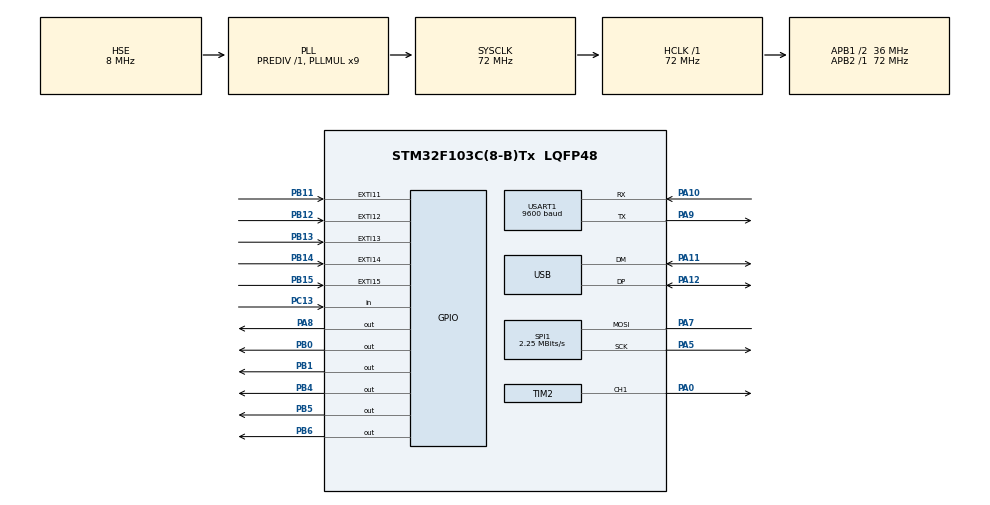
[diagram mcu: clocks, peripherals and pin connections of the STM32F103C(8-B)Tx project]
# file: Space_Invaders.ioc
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Mcu.Family=STM32F1
Mcu.Name=STM32F103C(8-B)Tx
Mcu.Package=LQFP48
NVIC.EXTI15_10_IRQn=true\:0\:0\:false\:false\:true\:true\:true\:true
NVIC.PriorityGroup=NVIC_PRIORITYGROUP_4
NVIC.TIM2_IRQn=true\:0\:0\:false\:false\:true\:true\:true\:true
NVIC.USART1_IRQn=true\:0\:0\:false\:false\:true\:true\:true\:true
PA0-WKUP.Signal=S_TIM2_CH1_ETR
PA10.Mode=Asynchronous
PA10.Signal=USART1_RX
PA11.Mode=Device
PA11.Signal=USB_DM
PA12.Mode=Device
PA12.Signal=USB_DP
PA5.Mode=Simplex_Bidirectional_Master
PA5.Signal=SPI1_SCK
PA7.Mode=Simplex_Bidirectional_Master
PA7.Signal=SPI1_MOSI
PA8.Signal=GPIO_Output
PA9.Mode=Asynchronous
PA9.Signal=USART1_TX
PB0.Signal=GPIO_Output
PB1.Signal=GPIO_Output
PB11.GPIO_ModeDefaultEXTI=GPIO_MODE_IT_RISING
PB11.GPIO_PuPd=GPIO_PULLDOWN
PB11.Signal=GPXTI11
PB12.GPIO_PuPd=GPIO_PULLDOWN
PB12.Signal=GPXTI12
PB13.GPIO_PuPd=GPIO_PULLDOWN
PB13.Signal=GPXTI13
PB14.GPIO_PuPd=GPIO_PULLDOWN
PB14.Signal=GPXTI14
PB15.GPIO_PuPd=GPIO_PULLDOWN
PB15.Signal=GPXTI15
PB4.Signal=GPIO_Output
PB5.Signal=GPIO_Output
PB6.Signal=GPIO_Output
PC13-TAMPER-RTC.GPIO_PuPd=GPIO_PULLUP
PC13-TAMPER-RTC.Signal=GPIO_Input
PD0-OSC_IN.Mode=HSE-External-Oscillator
PD0-OSC_IN.Signal=RCC_OSC_IN
PD1-OSC_OUT.Mode=HSE-External-Oscillator
PD1-OSC_OUT.Signal=RCC_OSC_OUT
ProjectManager.HeapSize=0x200
ProjectManager.StackSize=0x400
ProjectManager.TargetToolchain=STM32CubeIDE
RCC.AHBFreq_Value=72000000
RCC.APB1CLKDivider=RCC_HCLK_DIV2
RCC.APB1Freq_Value=36000000
RCC.APB1TimFreq_Value=72000000
RCC.APB2Freq_Value=72000000
RCC.APB2TimFreq_Value=72000000
RCC.HCLKFreq_Value=72000000
RCC.PLLMUL=RCC_PLL_MUL9
RCC.SYSCLKFreq_VALUE=72000000
RCC.SYSCLKSource=RCC_SYSCLKSOURCE_PLLCLK
RCC.USBFreq_Value=48000000
RCC.USBPrescaler=RCC_USBCLKSOURCE_PLL_DIV1_5
SH.S_TIM2_CH1_ETR.0=TIM2_CH1,Output Compare1 CH1
SPI1.BaudRatePrescaler=SPI_BAUDRATEPRESCALER_32
SPI1.CalculateBaudRate=2.25 MBits/s
SPI1.Direction=SPI_DIRECTION_1LINE
SPI1.Mode=SPI_MODE_MASTER
SPI1.VirtualType=VM_MASTER
TIM2.Channel-Output\ Compare1\ CH1=TIM_CHANNEL_1
TIM2.Period=100
TIM2.Prescaler=7199
USART1.BaudRate=9600
USART1.VirtualMode=VM_ASYNC
VP_SYS_VS_ND.Mode=No_Debug
VP_TIM2_VS_ClockSourceINT.Mode=Internal
board=custom

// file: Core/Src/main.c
/* USER CODE BEGIN Header */
/**
  ******************************************************************************
  * @file           : main.c
  * @brief          : Main program body
  ******************************************************************************
  * @attention
  *
  * Copyright (c) 2024 STMicroelectronics.
  * All rights reserved.
  *
  * This software is licensed under terms that can be found in the LICENSE file
  * in the root directory of this software component.
  * If no LICENSE file comes with this software, it is provided AS-IS.
  *
  ******************************************************************************
  */
/* USER CODE END Header */
#include "main.h"

/* USER CODE BEGIN Includes */

#include <string.h>
#include <stdlib.h>
#include <stdio.h>
#include "st7735.h"
#include "GFX_FUNCTIONS.h"
#include "fonts.h"

/* USER CODE END Includes */

/* USER CODE BEGIN PTD */

typedef struct Entitate
{
	int16_t x;
	int16_t y;

}Entitate;

bool ok = 0;
bool start = 0;
bool intrerupere = 0;
bool trigger = 0;

uint8_t latime=128;
uint8_t lungime=128;

uint8_t apasat12=0;//sus
uint8_t apasat13=0;//jos
uint8_t apasat14=0;//dreapta
uint8_t apasat15=0;//stanga

uint16_t timp=0;
uint16_t timp2=0;

Entitate entitate[20];//entitate[0] va fi userul -> racheta
uint8_t contorEntitati=0;

Entitate gloanteNava[300];
uint8_t contorGloanteNava = 0;

Entitate gloanteInamici[300];
uint8_t contorGloanteInamici = 0;

/* USER CODE END PTD */

SPI_HandleTypeDef hspi1;

TIM_HandleTypeDef htim2;

UART_HandleTypeDef huart1;

PCD_HandleTypeDef hpcd_USB_FS;

void SystemClock_Config(void);
static void MX_GPIO_Init(void);
static void MX_SPI1_Init(void);
static void MX_TIM2_Init(void);
static void MX_USART1_UART_Init(void);
static void MX_USB_PCD_Init(void);
/* USER CODE BEGIN PFP */

void HAL_TIM_PeriodElapsedCallback(TIM_HandleTypeDef *htim2)
{
	timp++;//timerul se apeleaza de 100 de ori pe secunda deci
		  //o secunda trece cand timp ajunge la 100 analog 50 pentru 500 ms
		 //Nu este cazul pentru Overflow deoarece variabila se incrementeaza doar de 100 de ori pe secunda
		//Pentru 30 de secunde brb am avea 3000 maximul pe 16 biti unsigned fiind 65.536-1

	timp2++;

	if(timp2==6000)
	{
		timp2 = 0;
	}
}

/* USER CODE END PFP */

/* USER CODE BEGIN 0 */

void initializare_ecran_start(int *speed)
{

	ST7735_FillScreenFast(ST7735_BLACK);

	ST7735_WriteString(0, 8, "  Space Invaders!", Font_7x10, ST7735_WHITE, ST7735_BLACK);
	ST7735_WriteString(20, 32, "Dificultate: ", Font_7x10, ST7735_WHITE, ST7735_BLACK);

	ST7735_WriteString( 7, lungime/2, "Mica", Font_7x10, ST7735_WHITE, ST7735_BLACK);
	ST7735_WriteString( latime-35 , lungime/2, "Mare", Font_7x10, ST7735_WHITE, ST7735_BLACK);

	while(HAL_GPIO_ReadPin(GPIOB, GPIO_PIN_11)!=1)//cat timp nu am apasat pe trigger si am selectat viteza, putem alege
	{

		if(HAL_GPIO_ReadPin(GPIOB, GPIO_PIN_15)==1)//am apasat stanga->selectam mica
		{
			ST7735_WriteString(7 , lungime/2, "Mica", Font_7x10, ST7735_BLUE, ST7735_BLACK);
			ST7735_WriteString(latime-35 , lungime/2, "Mare", Font_7x10, ST7735_WHITE, ST7735_BLACK);

			*speed=25;
		}

		if(HAL_GPIO_ReadPin(GPIOB, GPIO_PIN_14)==1)//am apasat dreapta->selectam mare
		{
			ST7735_WriteString(7, lungime/2, "Mica", Font_7x10, ST7735_WHITE, ST7735_BLACK);
			ST7735_WriteString(latime-35, lungime/2, "Mare", Font_7x10, ST7735_BLUE, ST7735_BLACK);

			*speed=5;

		}

	}

	ST7735_FillScreenFast(ST7735_BLACK);

}

void ecran_game_over()
{
	ST7735_FillScreenFast(ST7735_BLACK);
	ST7735_WriteString(0, 64, "    Game Over!", Font_7x10, ST7735_WHITE, ST7735_BLACK);
}

void ecran_joc_castigat()
{
	ST7735_FillScreenFast(ST7735_BLACK);
	ST7735_WriteString(0, 64, "   Level Passed!", Font_7x10, ST7735_WHITE, ST7735_BLACK);
}

void pixel_racheta_jucator()
{
	uint8_t i;
	uint8_t j;
	//incepem de la 8 pixeli fata de jos

	for(i=0;i<8;i++)
	{
		for(j=0;j<8;j++)
		{
			if((i==0 && j==0) || (i==0 && j==1) || (i==0 && j==2) || (i==0 && j==3) || (i==0 && j==5) || (i==0 && j==6) ||
			   (i==1 && j==3) || (i==1 && j==5) || (i==2 && j==3) || (i==2 && j==5) || (i==2 && j==7) || (i==3 && j==1) ||
			   (i==3 && j==2) || (i==3 && j==3) || (i==3 && j==4) || (i==3 && j==5) || (i==3 && j==6) || (i==3 && j==7) ||
			   (i==4 && j==1) || (i==4 && j==2) || (i==4 && j==3) || (i==4 && j==4) || (i==4 && j==5) || (i==4 && j==6) ||
			   (i==4 && j==7) || (i==5 && j==3) || (i==5 && j==5) || (i==5 && j==7) || (i==6 && j==3) || (i==6 && j==5) ||
			   (i==7 && j==0) || (i==7 && j==1) || (i==7 && j==2) || (i==7 && j==3) || (i==7 && j==5) || (i==7 && j==6) )

			{
				//coloreaza pixelul albastru
				ST7735_DrawPixel(entitate[0].x+i,entitate[0].y+j, ST7735_BLUE);
			}

			else
			{
				//coloreaza negru
				ST7735_DrawPixel(entitate[0].x+i,entitate[0].y+j, ST7735_BLACK);
			}
		}
	}

}

void refresh_glont(uint8_t x, uint8_t y)
{
	uint8_t i,j;

	for(i=0;i<4;i++)
	{
		for(j=0;j<2;j++)
		{
			ST7735_DrawPixel(x+j,y+i, ST7735_BLACK);
		}
	}
}

void pixel_glont(uint8_t x, uint8_t y)
{
	uint8_t i,j;

	for(i=0;i<4;i++)
	{
		for(j=0;j<2;j++)
		{
			ST7735_DrawPixel(x+j,y+i, ST7735_RED);
		}
	}
}

void refresh_gloante()
{
	uint8_t i;

	for(i=1;i<=contorGloanteNava;i++)
	{
		refresh_glont(gloanteNava[i].x,gloanteNava[i].y);
	}

	for(i=1;i<=contorGloanteInamici;i++)
	{
		refresh_glont(gloanteInamici[i].x,gloanteInamici[i].y);
	}
}

void draw_gloante()
{
	uint8_t i;

	for(i=1;i<=contorGloanteNava;i++)
	{
		pixel_glont(gloanteNava[i].x,gloanteNava[i].y);
	}

	for(i=1;i<=contorGloanteInamici;i++)
	{
		pixel_glont(gloanteInamici[i].x,gloanteInamici[i].y);
	}

}

void refresh_entitate(uint8_t x, uint8_t y)
{
	uint8_t i;
	uint8_t j;

	for(i=x;i<x+8;i++)
	{
		for(j=y;j<y+8;j++)
		{
			ST7735_DrawPixel(i,j, ST7735_BLACK);
		}
	}
}

void pixel_adversar(uint8_t x, uint8_t y)
{
	uint8_t i;
	uint8_t j;

	for(i=0;i<8;i++)
	{
		for(j=0;j<8;j++)
		{
			if( (i==2 && j==1) || (i==3 && j==1) || (i==4 && j==1) || (i==5 && j==1) || (i==1 && j==2) || (i==2 && j==2) ||
				(i==3 && j==2) || (i==4 && j==2) || (i==5 && j==2) || (i==6 && j==2) || (i==1 && j==3) || (i==3 && j==3) ||
				(i==4 && j==3) || (i==6 && j==3) || (i==1 && j==4) || (i==2 && j==4) || (i==3 && j==4) || (i==4 && j==4)
				|| (i==5 && j==4) || (i==6 && j==4) || (i==2 && j==5) || (i==3 && j==5) || (i==4 && j==5) || (i==5 && j==5)
				|| (i==1 && j==6) || (i==3 && j==6) || (i==4 && j==6) || (i==6 && j==6))
			{
				ST7735_DrawPixel(x+i,y+j, ST7735_WHITE);
			}

			else

			{
				ST7735_DrawPixel(x+i,y+j, ST7735_BLACK);
			}
		}
	}
}

void draw_adversari()
{
	uint8_t i;

	for(i=1;i<=contorEntitati;i++)
		{
			pixel_adversar(entitate[i].x,entitate[i].y);
		}
}

void HAL_GPIO_EXTI_Callback(uint16_t GPIO_Pin)
{
	//Functie de intreupere de sistem, cand unul din butoanele directionale vor fi apasate
	//aceasta functie va fi apelata si parcursa

    if(timp >= 15)
    {
        intrerupere = 1;

        if(GPIO_Pin == GPIO_PIN_11)
        {
        	trigger = 1;
        }

        if(GPIO_Pin == GPIO_PIN_12)
        {
        	//SUS

            apasat12 = 1;
            apasat13 = 0;
            apasat14 = 0;
            apasat15 = 0;

        }

        if(GPIO_Pin == GPIO_PIN_13)
        {
        	//JOS
            apasat12 = 0;
            apasat13 = 1;
            apasat14 = 0;
            apasat15 = 0;

        }

        if(GPIO_Pin == GPIO_PIN_14)
        {
        	//DREAPTA

            apasat12 = 0;
            apasat13 = 0;
            apasat14 = 1;
            apasat15 = 0;

        }

        if(GPIO_Pin == GPIO_PIN_15)
        {
        	//STANGA

            apasat12 = 0;
            apasat13 = 0;
            apasat14 = 0;
            apasat15 = 1;

        }

        timp = 0;

    }
}

void deplasare_jucator()
{

	if(apasat12 == 1)
	{
		//sus

        if((entitate[0].y >= 32))
        {
            refresh_entitate(entitate[0].x, entitate[0].y);
            entitate[0].y = entitate[0].y - 4;
            pixel_racheta_jucator();
        }

        apasat12 = 0;

	}

	if(apasat13 == 1)
	{
		//jos

        if((entitate[0].y != 120))
        {
            refresh_entitate(entitate[0].x, entitate[0].y);
            entitate[0].y = entitate[0].y + 4;
            pixel_racheta_jucator();
        }

        apasat13 = 0;

	}

	if(apasat14 == 1)
	{
		//dreapta

        if((entitate[0].x != 120))
        {
            refresh_entitate(entitate[0].x, entitate[0].y);
            entitate[0].x = entitate[0].x + 4;
            pixel_racheta_jucator();
        }

        apasat14 = 0;

	}

	if(apasat15 == 1)
	{
		//stanga

        if((entitate[0].x != 0))
        {
            refresh_entitate(entitate[0].x, entitate[0].y);
            entitate[0].x = entitate[0].x - 4;
            pixel_racheta_jucator();
        }

        apasat15 = 0;

	}

}

void initializare_adversar_nivel1()
{

	contorEntitati=4;

	entitate[1].x=8;
	entitate[1].y=8;

	entitate[2].x=40;
	entitate[2].y=8;

	entitate[3].x=72;
	entitate[3].y=8;

	entitate[4].x=104;
	entitate[4].y=8;

	draw_adversari();
}

void initializare_nivel_1()
{
	//primul nivel va fi cu 4 adversari fiecare divizat la o distanta pe aceeasi linie 64,112

	entitate[0].x=64;
	entitate[0].y=112;

	pixel_racheta_jucator();
	initializare_adversar_nivel1();
}

//----------------------------------------------------------------------------------------------------------------------------------------------------

void verifica_coliziune_nava_inamica()
{
	uint8_t i,j,k;

	for(i=1;i<=contorGloanteNava;i++)
	{
		for(j=1;j<=contorEntitati;j++)
		{
			if((gloanteNava[i].x >= entitate[j].x) && (gloanteNava[i].x <= entitate[j].x +7) &&
			   (gloanteNava[i].y <= entitate[j].y + 7))
			{
				//de pe ecran
				refresh_entitate(entitate[j].x, entitate[j].y);

				//stergem entitatea din array

				for(k=j;k<contorEntitati;k++)
				{
					entitate[k] = entitate[k+1];
				}

				contorEntitati--;
			}

			else
			{
				continue;
			}
		}
	}
}

bool verifica_coliziune_jucator()
{
	uint8_t i;

	for(i=1;i<=contorGloanteInamici;i++)
	{
		if((gloanteInamici[i].x >= entitate[0].x) && (gloanteInamici[i].x <= entitate[0].x + 7) &&
		   (gloanteInamici[i].y + 4 >= entitate[0].y) && (gloanteInamici[i].y + 4 <= entitate[0].y + 7))
		{
			ST7735_FillScreenFast(ST7735_BLACK);
			return 1;
		}
	}

	return 0;
}

//----------------------------------------------------------------------------------------------------------------------------------------------------

bool verifica_joc_castigat()
{
	if(contorEntitati == 0) //entitatea 0 este jucatorul
	{

		ST7735_FillScreenFast(ST7735_BLACK);
		return 1;

	}

	else
	{
		return 0;
	}
}

//-------------------------------------------------------------------------------------------------------------------------------------------------------------

void spawn_gloante_inamice()
{
	uint8_t rand_inamic=0;

	if(timp2>=100)
	{
		rand_inamic = (rand()%contorEntitati) + 1;

		contorGloanteInamici++;

		gloanteInamici[contorGloanteInamici].x = entitate[rand_inamic].x + 3;
		gloanteInamici[contorGloanteInamici].y = entitate[rand_inamic].y + 8;

		timp2=0;
	}

}

void verifica_trigger()
{
	//verificam daca am apasat pe butonul de tras gloante

	if(trigger == 1)
	{
		contorGloanteNava++;

		gloanteNava[contorGloanteNava].x = entitate[0].x + 3;
		gloanteNava[contorGloanteNava].y = entitate[0].y - 8;

		trigger = 0;

	}

}

void deplasare_gloante()
{
	uint8_t i;
	for(i=1;i<=contorGloanteInamici;i++)
	{
		gloanteInamici[i].y = gloanteInamici[i].y + 1;
	}

	for(i=1;i<=contorGloanteNava;i++)
	{
		gloanteNava[i].y = gloanteNava[i].y - 1;
	}

}

void verifica_coordonate_gloante()
{
	/*functie ce verifica ca coorodnatele gloantelor inamice sa nu iasa din raza mapei de pixeli
	a ecranului de 128x128x
	*/

	uint8_t i;
	uint8_t j;

	for(i=1;i<=contorGloanteInamici;i++)
	{
		if(gloanteInamici[i].y >= 128)
		{

			for(j=i;j<contorGloanteInamici;j++)
			{
				gloanteInamici[j]=gloanteInamici[j+1];
			}

			contorGloanteInamici--;
		}

		else
		{
			continue;
		}
	}

	for(i=1;i<=contorGloanteNava;i++)
	{
		if(gloanteNava[i].y <= (-4))
		{

			for(j=i;j<contorGloanteNava;j++)
			{
				gloanteNava[j]=gloanteNava[j+1];
			}

			contorGloanteNava--;
		}

		else
		{
			continue;
		}
	}

}

//----------------------------------------------------------------------------------------------------------------------------------------------------

void logica_coliziuni()
{
	verifica_coliziune_nava_inamica();
}

void logica_gloante()
{

	if(start==0) //pentru initializare
	{
		spawn_gloante_inamice();
		draw_gloante();
		start = 1;
		return;
	}

	logica_coliziuni();

	refresh_gloante();
	deplasare_gloante();
	spawn_gloante_inamice();
	verifica_trigger();
	draw_gloante();

	verifica_coordonate_gloante();

}

void fizica_jucator()
{

	//aici vor fi scrise logicile pentru impuscaturi si game over, scor etc
	deplasare_jucator();
	logica_gloante();

}

void motor_joc()
{
	if(ok==0)
	{
		initializare_nivel_1();
		ok=1;
	}

	fizica_jucator();
}

/* USER CODE END 0 */

int main(void)
{

  /* USER CODE BEGIN 1 */

  int speed = 25;

  /* USER CODE END 1 */

  /* MCU Configuration--------------------------------------------------------*/

  /* Reset of all peripherals, Initializes the Flash interface and the Systick. */
  HAL_Init();

  /* Configure the system clock */
  SystemClock_Config();

  /* Initialize all configured peripherals */
  MX_GPIO_Init();
  MX_SPI1_Init();
  MX_TIM2_Init();
  MX_USART1_UART_Init();
  MX_USB_PCD_Init();
  /* USER CODE BEGIN 2 */

  HAL_TIM_Base_Start_IT(&htim2);//pornim counterul-ceasul

  ST7735_Init();

  ST7735_FillScreenFast(ST7735_BLACK);

  initializare_ecran_start(&speed);

  /* USER CODE END 2 */

  /* Infinite loop */
  while (1)
  {
	  motor_joc();
	  srand(HAL_GetTick());
	  HAL_Delay(speed);

	  if(verifica_coliziune_jucator() == 1)
	  {
		  ecran_game_over();
		  while(1);
	  }

	  if( verifica_joc_castigat() == 1)
	  {
		  ecran_joc_castigat();
		  while(1);
	  }
  }
}

void SystemClock_Config(void)
{
  RCC_OscInitTypeDef RCC_OscInitStruct = {0};
  RCC_ClkInitTypeDef RCC_ClkInitStruct = {0};
  RCC_PeriphCLKInitTypeDef PeriphClkInit = {0};

  /** Initializes the RCC Oscillators according to the specified parameters
  * in the RCC_OscInitTypeDef structure.
  */
  RCC_OscInitStruct.OscillatorType = RCC_OSCILLATORTYPE_HSE;
  RCC_OscInitStruct.HSEState = RCC_HSE_ON;
  RCC_OscInitStruct.HSEPredivValue = RCC_HSE_PREDIV_DIV1;
  RCC_OscInitStruct.HSIState = RCC_HSI_ON;
  RCC_OscInitStruct.PLL.PLLState = RCC_PLL_ON;
  RCC_OscInitStruct.PLL.PLLSource = RCC_PLLSOURCE_HSE;
  RCC_OscInitStruct.PLL.PLLMUL = RCC_PLL_MUL9;
  if (HAL_RCC_OscConfig(&RCC_OscInitStruct) != HAL_OK)
  {
    Error_Handler();
  }

  /** Initializes the CPU, AHB and APB buses clocks
  */
  RCC_ClkInitStruct.ClockType = RCC_CLOCKTYPE_HCLK|RCC_CLOCKTYPE_SYSCLK
                              |RCC_CLOCKTYPE_PCLK1|RCC_CLOCKTYPE_PCLK2;
  RCC_ClkInitStruct.SYSCLKSource = RCC_SYSCLKSOURCE_PLLCLK;
  RCC_ClkInitStruct.AHBCLKDivider = RCC_SYSCLK_DIV1;
  RCC_ClkInitStruct.APB1CLKDivider = RCC_HCLK_DIV2;
  RCC_ClkInitStruct.APB2CLKDivider = RCC_HCLK_DIV1;

  if (HAL_RCC_ClockConfig(&RCC_ClkInitStruct, FLASH_LATENCY_2) != HAL_OK)
  {
    Error_Handler();
  }
  PeriphClkInit.PeriphClockSelection = RCC_PERIPHCLK_USB;
  PeriphClkInit.UsbClockSelection = RCC_USBCLKSOURCE_PLL_DIV1_5;
  if (HAL_RCCEx_PeriphCLKConfig(&PeriphClkInit) != HAL_OK)
  {
    Error_Handler();
  }
}

static void MX_SPI1_Init(void)
{

  /* SPI1 parameter configuration*/
  hspi1.Instance = SPI1;
  hspi1.Init.Mode = SPI_MODE_MASTER;
  hspi1.Init.Direction = SPI_DIRECTION_1LINE;
  hspi1.Init.DataSize = SPI_DATASIZE_8BIT;
  hspi1.Init.CLKPolarity = SPI_POLARITY_LOW;
  hspi1.Init.CLKPhase = SPI_PHASE_1EDGE;
  hspi1.Init.NSS = SPI_NSS_SOFT;
  hspi1.Init.BaudRatePrescaler = SPI_BAUDRATEPRESCALER_32;
  hspi1.Init.FirstBit = SPI_FIRSTBIT_MSB;
  hspi1.Init.TIMode = SPI_TIMODE_DISABLE;
  hspi1.Init.CRCCalculation = SPI_CRCCALCULATION_DISABLE;
  hspi1.Init.CRCPolynomial = 10;
  if (HAL_SPI_Init(&hspi1) != HAL_OK)
  {
    Error_Handler();
  }

}

static void MX_TIM2_Init(void)
{

  TIM_ClockConfigTypeDef sClockSourceConfig = {0};
  TIM_MasterConfigTypeDef sMasterConfig = {0};
  TIM_OC_InitTypeDef sConfigOC = {0};

  htim2.Instance = TIM2;
  htim2.Init.Prescaler = 7199;
  htim2.Init.CounterMode = TIM_COUNTERMODE_UP;
  htim2.Init.Period = 100;
  htim2.Init.ClockDivision = TIM_CLOCKDIVISION_DIV1;
  htim2.Init.AutoReloadPreload = TIM_AUTORELOAD_PRELOAD_DISABLE;
  if (HAL_TIM_Base_Init(&htim2) != HAL_OK)
  {
    Error_Handler();
  }
  sClockSourceConfig.ClockSource = TIM_CLOCKSOURCE_INTERNAL;
  if (HAL_TIM_ConfigClockSource(&htim2, &sClockSourceConfig) != HAL_OK)
  {
    Error_Handler();
  }
  if (HAL_TIM_OC_Init(&htim2) != HAL_OK)
  {
    Error_Handler();
  }
  sMasterConfig.MasterOutputTrigger = TIM_TRGO_RESET;
  sMasterConfig.MasterSlaveMode = TIM_MASTERSLAVEMODE_DISABLE;
  if (HAL_TIMEx_MasterConfigSynchronization(&htim2, &sMasterConfig) != HAL_OK)
  {
    Error_Handler();
  }
  sConfigOC.OCMode = TIM_OCMODE_TIMING;
  sConfigOC.Pulse = 0;
  sConfigOC.OCPolarity = TIM_OCPOLARITY_HIGH;
  sConfigOC.OCFastMode = TIM_OCFAST_DISABLE;
  if (HAL_TIM_OC_ConfigChannel(&htim2, &sConfigOC, TIM_CHANNEL_1) != HAL_OK)
  {
    Error_Handler();
  }
  HAL_TIM_MspPostInit(&htim2);

}

static void MX_USART1_UART_Init(void)
{

  huart1.Instance = USART1;
  huart1.Init.BaudRate = 9600;
  huart1.Init.WordLength = UART_WORDLENGTH_8B;
  huart1.Init.StopBits = UART_STOPBITS_1;
  huart1.Init.Parity = UART_PARITY_NONE;
  huart1.Init.Mode = UART_MODE_TX_RX;
  huart1.Init.HwFlowCtl = UART_HWCONTROL_NONE;
  huart1.Init.OverSampling = UART_OVERSAMPLING_16;
  if (HAL_UART_Init(&huart1) != HAL_OK)
  {
    Error_Handler();
  }

}

static void MX_USB_PCD_Init(void)
{

  hpcd_USB_FS.Instance = USB;
  hpcd_USB_FS.Init.dev_endpoints = 8;
  hpcd_USB_FS.Init.speed = PCD_SPEED_FULL;
  hpcd_USB_FS.Init.low_power_enable = DISABLE;
  hpcd_USB_FS.Init.lpm_enable = DISABLE;
  hpcd_USB_FS.Init.battery_charging_enable = DISABLE;
  if (HAL_PCD_Init(&hpcd_USB_FS) != HAL_OK)
  {
    Error_Handler();
  }

}

static void MX_GPIO_Init(void)
{
  GPIO_InitTypeDef GPIO_InitStruct = {0};

  /* GPIO Ports Clock Enable */
  __HAL_RCC_GPIOC_CLK_ENABLE();
  __HAL_RCC_GPIOD_CLK_ENABLE();
  __HAL_RCC_GPIOA_CLK_ENABLE();
  __HAL_RCC_GPIOB_CLK_ENABLE();

  /*Configure GPIO pin Output Level */
  HAL_GPIO_WritePin(GPIOB, GPIO_PIN_0|GPIO_PIN_1|GPIO_PIN_4|GPIO_PIN_5
                          |GPIO_PIN_6, GPIO_PIN_RESET);

  /*Configure GPIO pin Output Level */
  HAL_GPIO_WritePin(GPIOA, GPIO_PIN_8, GPIO_PIN_RESET);

  /*Configure GPIO pin : PC13 */
  GPIO_InitStruct.Pin = GPIO_PIN_13;
  GPIO_InitStruct.Mode = GPIO_MODE_INPUT;
  GPIO_InitStruct.Pull = GPIO_PULLUP;
  HAL_GPIO_Init(GPIOC, &GPIO_InitStruct);

  /*Configure GPIO pins : PB0 PB1 PB4 PB5
                           PB6 */
  GPIO_InitStruct.Pin = GPIO_PIN_0|GPIO_PIN_1|GPIO_PIN_4|GPIO_PIN_5
                          |GPIO_PIN_6;
  GPIO_InitStruct.Mode = GPIO_MODE_OUTPUT_PP;
  GPIO_InitStruct.Pull = GPIO_NOPULL;
  GPIO_InitStruct.Speed = GPIO_SPEED_FREQ_LOW;
  HAL_GPIO_Init(GPIOB, &GPIO_InitStruct);

  /*Configure GPIO pins : PB11 PB12 PB13 PB14
                           PB15 */
  GPIO_InitStruct.Pin = GPIO_PIN_11|GPIO_PIN_12|GPIO_PIN_13|GPIO_PIN_14
                          |GPIO_PIN_15;
  GPIO_InitStruct.Mode = GPIO_MODE_IT_RISING;
  GPIO_InitStruct.Pull = GPIO_PULLDOWN;
  HAL_GPIO_Init(GPIOB, &GPIO_InitStruct);

  /*Configure GPIO pin : PA8 */
  GPIO_InitStruct.Pin = GPIO_PIN_8;
  GPIO_InitStruct.Mode = GPIO_MODE_OUTPUT_PP;
  GPIO_InitStruct.Pull = GPIO_NOPULL;
  GPIO_InitStruct.Speed = GPIO_SPEED_FREQ_LOW;
  HAL_GPIO_Init(GPIOA, &GPIO_InitStruct);

  /* EXTI interrupt init*/
  HAL_NVIC_SetPriority(EXTI15_10_IRQn, 0, 0);
  HAL_NVIC_EnableIRQ(EXTI15_10_IRQn);

}

void Error_Handler(void)
{
  __disable_irq();
  while (1)
  {
  }
}
